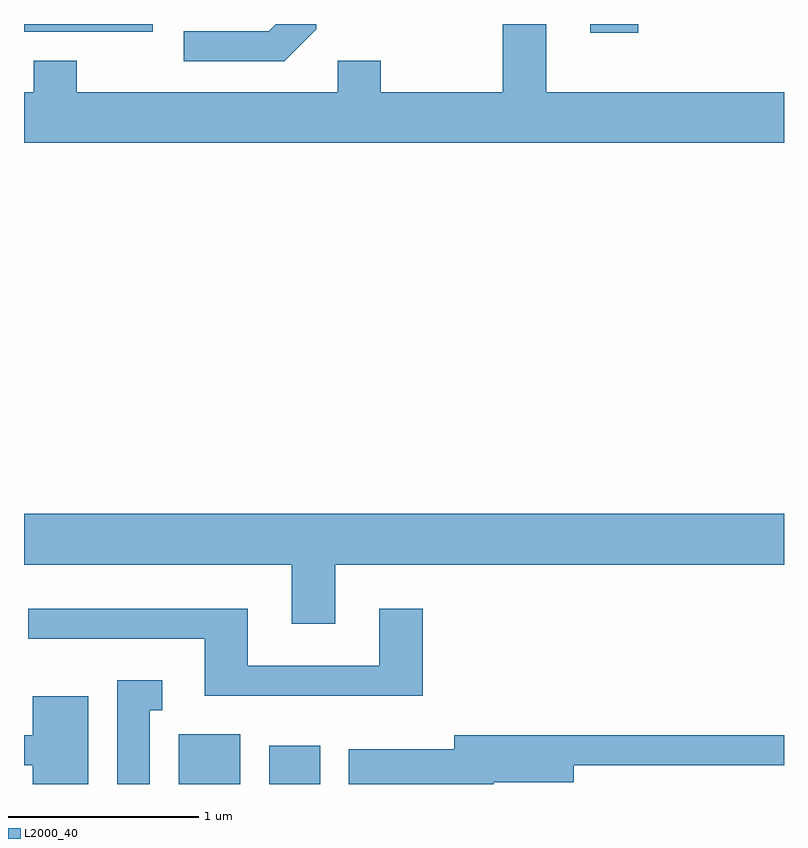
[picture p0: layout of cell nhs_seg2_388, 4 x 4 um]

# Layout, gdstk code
import gdstk
lib = gdstk.Library(unit=1e-6, precision=1e-09)
def R(c, l, rs):  # rectangles x0, y0, x1, y1
    for r in rs: c.add(gdstk.rectangle(r[:2], r[2:], *l))
def P(c, l, *ps):  # polygons
    for p in ps: c.add(gdstk.Polygon(p, *l))
L2000_40 = (2000, 40)

nhs_seg2_388 = lib.new_cell('nhs_seg2_388')
R(nhs_seg2_388, L2000_40, [(196.426,1073.802,196.749,1074.064), (196.901,1073.802,197.169,1074.004), (198.591,1077.756,198.844,1077.802), (195.611,1077.761,196.289,1077.802)])
P(nhs_seg2_388, L2000_40, [(199.611,1077.444),(198.359,1077.444),(198.359,1077.802),(198.131,1077.802),(198.131,1077.444),(197.489,1077.444),(197.489,1077.609),(197.261,1077.609),(197.261,1077.444),(195.889,1077.444),(195.889,1077.609),(195.661,1077.609),(195.661,1077.444),(195.611,1077.444),(195.611,1077.176),(199.611,1077.176)],
  [(197.149,1077.774),(197.149,1077.802),(196.937,1077.802),(196.899,1077.764),(196.453,1077.764),(196.453,1077.606),(196.982,1077.606)],
  [(197.249,1074.956),(199.611,1074.956),(199.611,1075.224),(195.611,1075.224),(195.611,1074.956),(197.021,1074.956),(197.021,1074.646),(197.249,1074.646)],
  [(197.709,1074.724),(197.481,1074.724),(197.481,1074.424),(196.789,1074.424),(196.789,1074.724),(195.633,1074.724),(195.633,1074.566),(196.561,1074.566),(196.561,1074.266),(197.709,1074.266)],
  [(196.274,1074.191),(196.338,1074.191),(196.338,1074.349),(196.101,1074.349),(196.101,1073.802),(196.274,1073.802)],
  [(195.949,1074.264),(195.656,1074.264),(195.656,1074.059),(195.611,1074.059),(195.611,1073.901),(195.656,1073.901),(195.656,1073.802),(195.949,1073.802)],
  [(198.084,1073.811),(198.504,1073.811),(198.504,1073.901),(199.611,1073.901),(199.611,1074.059),(197.876,1074.059),(197.876,1073.984),(197.321,1073.984),(197.321,1073.802),(198.084,1073.802)])

lib.write_gds('nhs_seg2_388.gds')
